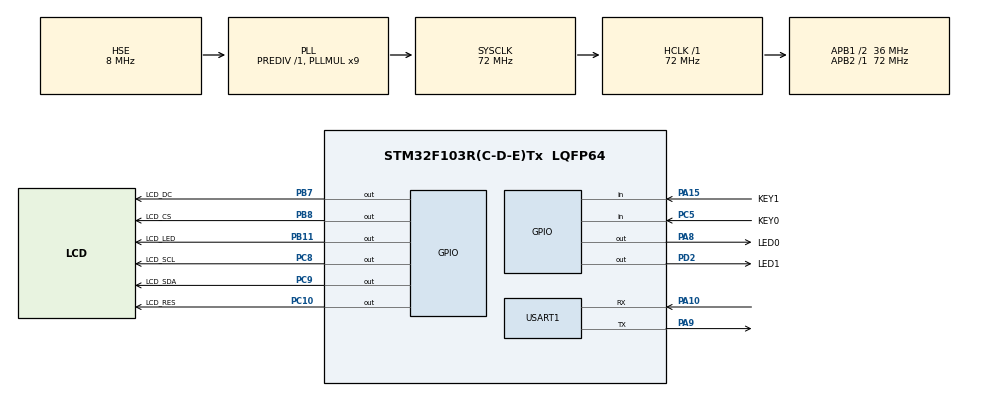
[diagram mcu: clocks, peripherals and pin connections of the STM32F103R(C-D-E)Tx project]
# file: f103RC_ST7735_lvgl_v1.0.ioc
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Mcu.Family=STM32F1
Mcu.Name=STM32F103R(C-D-E)Tx
Mcu.Package=LQFP64
NVIC.PriorityGroup=NVIC_PRIORITYGROUP_4
NVIC.TIM6_IRQn=true\:15\:0\:true\:false\:true\:false\:true\:true
NVIC.TIM7_IRQn=true\:12\:0\:true\:false\:true\:true\:true\:true
NVIC.TimeBase=TIM6_IRQn
NVIC.TimeBaseIP=TIM6
NVIC.USART1_IRQn=true\:11\:0\:true\:false\:true\:true\:true\:true
PA10.Mode=Asynchronous
PA10.Signal=USART1_RX
PA13.Mode=Serial_Wire
PA13.Signal=SYS_JTMS-SWDIO
PA14.Mode=Serial_Wire
PA14.Signal=SYS_JTCK-SWCLK
PA15.GPIO_Label=KEY1
PA15.GPIO_PuPd=GPIO_PULLUP
PA15.Signal=GPIO_Input
PA8.GPIO_Label=LED0
PA8.PinState=GPIO_PIN_SET
PA8.Signal=GPIO_Output
PA9.Mode=Asynchronous
PA9.Signal=USART1_TX
PB11.GPIO_Label=LCD_LED
PB11.Signal=GPIO_Output
PB7.GPIO_Label=LCD_DC
PB7.Signal=GPIO_Output
PB8.GPIO_Label=LCD_CS
PB8.Signal=GPIO_Output
PC10.GPIO_Label=LCD_RES
PC10.Signal=GPIO_Output
PC14-OSC32_IN.Mode=LSE-External-Oscillator
PC14-OSC32_IN.Signal=RCC_OSC32_IN
PC15-OSC32_OUT.Mode=LSE-External-Oscillator
PC15-OSC32_OUT.Signal=RCC_OSC32_OUT
PC5.GPIO_Label=KEY0
PC5.GPIO_PuPd=GPIO_PULLUP
PC5.Signal=GPIO_Input
PC8.GPIO_Label=LCD_SCL
PC8.Signal=GPIO_Output
PC9.GPIO_Label=LCD_SDA
PC9.Signal=GPIO_Output
PD0-OSC_IN.Mode=HSE-External-Oscillator
PD0-OSC_IN.Signal=RCC_OSC_IN
PD1-OSC_OUT.Mode=HSE-External-Oscillator
PD1-OSC_OUT.Signal=RCC_OSC_OUT
PD2.GPIO_Label=LED1
PD2.Signal=GPIO_Output
ProjectManager.HeapSize=0x200
ProjectManager.StackSize=0x400
ProjectManager.TargetToolchain=MDK-ARM V5.27
RCC.AHBFreq_Value=72000000
RCC.APB1CLKDivider=RCC_HCLK_DIV2
RCC.APB1Freq_Value=36000000
RCC.APB1TimFreq_Value=72000000
RCC.APB2Freq_Value=72000000
RCC.APB2TimFreq_Value=72000000
RCC.HCLKFreq_Value=72000000
RCC.PLLMUL=RCC_PLL_MUL9
RCC.PLLSourceVirtual=RCC_PLLSOURCE_HSE
RCC.SYSCLKFreq_VALUE=72000000
RCC.SYSCLKSource=RCC_SYSCLKSOURCE_PLLCLK
RCC.USBFreq_Value=72000000
TIM7.AutoReloadPreload=TIM_AUTORELOAD_PRELOAD_ENABLE
TIM7.Period=999
TIM7.Prescaler=7199
USART1.VirtualMode=VM_ASYNC
VP_SYS_VS_tim6.Mode=TIM6
VP_TIM7_VS_ClockSourceINT.Mode=Enable_Timer
board=custom

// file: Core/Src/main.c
/* USER CODE BEGIN Header */
/**
 ******************************************************************************
 * @file           : main.c
 * @brief          : Main program body
 ******************************************************************************
 * @attention
 *
 * <h2><center>&copy; Copyright (c) 2021 STMicroelectronics.
 * All rights reserved.</center></h2>
 *
 * This software component is licensed by ST under BSD 3-Clause license,
 * the "License"; You may not use this file except in compliance with the
 * License. You may obtain a copy of the License at:
 *                        opensource.org/licenses/BSD-3-Clause
 *
 ******************************************************************************
 */
/* USER CODE END Header */
#include "main.h"
#include "tim.h"
#include "usart.h"
#include "gpio.h"

/* USER CODE BEGIN Includes */
#include "lvgl.h"
#include "lv_port_disp.h"
#include "lv_port_indev.h"
#include "Lcd_Driver.h"
#include <stdio.h>
/* USER CODE END Includes */

/* USER CODE BEGIN PD */
#define LVGL_TICK 1
/* USER CODE END PD */

void SystemClock_Config(void);

/* USER CODE BEGIN 0 */
void Led_Loop(void)
{
  //  HAL_GPIO_TogglePin(LED1_GPIO_Port,LED1_Pin);
  //  HAL_Delay(100);
}

void lv_ex_label_1(void)
{
  lv_obj_t *parent = lv_scr_act();
  lv_obj_t *label = lv_label_create(parent, NULL);
  lv_label_set_text(label, LV_SYMBOL_WIFI LV_SYMBOL_BATTERY_3);
  lv_obj_align(label, parent, LV_ALIGN_IN_TOP_RIGHT, -2, 2);

  lv_obj_t *label1 = lv_label_create(parent, NULL);
  lv_label_set_recolor(label1, true);
  lv_label_set_long_mode(label1, LV_LABEL_LONG_SROLL_CIRC); /*Circular scroll*/
  lv_obj_set_width(label1, 120);

  lv_label_set_text(label1, "#ff0000 Hello# #00ff00 world !.# Trisuborn");
  lv_obj_align(label1, NULL, LV_ALIGN_CENTER, 0, 0);

  //  lv_obj_t *obj1 = lv_obj_create(parent, NULL);
  //  lv_obj_t *btn1 = lv_btn_create(obj1, NULL);
  //  lv_obj_align(obj1, parent, LV_ALIGN_IN_BOTTOM_MID, 0, 0);
}
//-------------------------------------------------------------------------
/* USER CODE END 0 */

int main(void)
{

  /* MCU Configuration--------------------------------------------------------*/

  /* Reset of all peripherals, Initializes the Flash interface and the Systick. */
  HAL_Init();

  /* Configure the system clock */
  SystemClock_Config();

  /* Initialize all configured peripherals */
  MX_GPIO_Init();
  MX_USART1_UART_Init();
  MX_TIM7_Init();
  /* USER CODE BEGIN 2 */
  HAL_TIM_Base_Start(&htim7);
  lv_init();
  lv_port_disp_init();
  lv_port_indev_init();

  /* ------------------------------------------------------------------- */
  lv_ex_label_1();

  /* USER CODE END 2 */

  /* Infinite loop */
  /* USER CODE BEGIN WHILE */
  while (1)
  {
    Led_Loop();

    lv_task_handler();
    // HAL_Delay(LVGL_TICK)
    /* USER CODE END WHILE */

  }
}

void SystemClock_Config(void)
{
  RCC_OscInitTypeDef RCC_OscInitStruct = {0};
  RCC_ClkInitTypeDef RCC_ClkInitStruct = {0};

  /** Initializes the RCC Oscillators according to the specified parameters
   * in the RCC_OscInitTypeDef structure.
   */
  RCC_OscInitStruct.OscillatorType = RCC_OSCILLATORTYPE_HSE;
  RCC_OscInitStruct.HSEState = RCC_HSE_ON;
  RCC_OscInitStruct.HSEPredivValue = RCC_HSE_PREDIV_DIV1;
  RCC_OscInitStruct.HSIState = RCC_HSI_ON;
  RCC_OscInitStruct.PLL.PLLState = RCC_PLL_ON;
  RCC_OscInitStruct.PLL.PLLSource = RCC_PLLSOURCE_HSE;
  RCC_OscInitStruct.PLL.PLLMUL = RCC_PLL_MUL9;
  if (HAL_RCC_OscConfig(&RCC_OscInitStruct) != HAL_OK)
  {
    Error_Handler();
  }

  /** Initializes the CPU, AHB and APB buses clocks
   */
  RCC_ClkInitStruct.ClockType = RCC_CLOCKTYPE_HCLK | RCC_CLOCKTYPE_SYSCLK | RCC_CLOCKTYPE_PCLK1 | RCC_CLOCKTYPE_PCLK2;
  RCC_ClkInitStruct.SYSCLKSource = RCC_SYSCLKSOURCE_PLLCLK;
  RCC_ClkInitStruct.AHBCLKDivider = RCC_SYSCLK_DIV1;
  RCC_ClkInitStruct.APB1CLKDivider = RCC_HCLK_DIV2;
  RCC_ClkInitStruct.APB2CLKDivider = RCC_HCLK_DIV1;

  if (HAL_RCC_ClockConfig(&RCC_ClkInitStruct, FLASH_LATENCY_2) != HAL_OK)
  {
    Error_Handler();
  }
}

void HAL_TIM_PeriodElapsedCallback(TIM_HandleTypeDef *htim)
{
  if (htim->Instance == TIM6)
  {
    HAL_IncTick();
    lv_tick_inc(1);
  }
  /* USER CODE BEGIN Callback 1 */
  if (htim->Instance == TIM7)
  {
  }

  /* USER CODE END Callback 1 */
}

void Error_Handler(void)
{
  __disable_irq();
  while (1)
  {
  }
}
